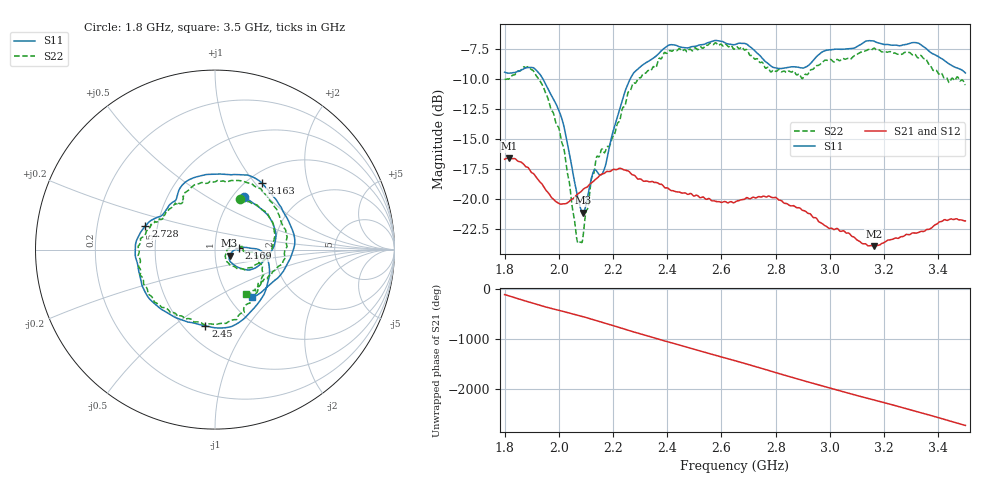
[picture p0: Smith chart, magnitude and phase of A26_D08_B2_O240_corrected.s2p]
! Created with skrf 1.9.0 (http://scikit-rf.org).
# Hz S RI R 50.0
!freq ReS11 ImS11 ReS21 ImS21 ReS12 ImS12 ReS22 ImS22
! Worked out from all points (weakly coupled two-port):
!   1601 points, 1.8 GHz to 3.5 GHz, reference 50 ohm
!   highest |S21| = -16.59 dB at 1.816 GHz (marker M1); lowest = -23.9 dB at 3.162 GHz (marker M2)
!   lowest |S11| = -21.1 dB at 2.089 GHz (marker M3), VSWR 1.19, Z = 58.7 - j3.99 ohm
!   |S11| at or under -10 dB: 1.942 GHz to 2.263 GHz (321.8 MHz wide, 15.3 % of centre)
!   |S22| runs from -23.7 to -7.0 dB; largest |S21 - S12| = 0.0029
!   S11 on the Smith chart (normalised r, x): 1.8 GHz: 1.13, +0.75; 2.169 GHz: 1.31, +0.03; 2.45 GHz: 0.63, -0.66; 2.728 GHz: 0.43, +0.14; 3.163 GHz: 1.16, +1.08; 3.5 GHz: 1.28, -0.75
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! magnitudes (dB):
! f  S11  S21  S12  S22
! 1.8 GHz  -9.4  -16.7  -16.7  -10.0
! 1.816 GHz  -9.5  -16.6  -16.6  -10.0
! 1.887 GHz  -9.0  -17.4  -17.5  -9.0
! 1.942 GHz  -10.0  -18.9  -18.9  -10.7
! 2.011 GHz  -13.3  -20.4  -20.4  -15.3
! 2.066 GHz  -19.4  -19.6  -19.7  -23.2
! 2.084 GHz  -21.0  -19.3  -19.3  -23.6
! 2.089 GHz  -21.1  -19.2  -19.2  -23.2
! 2.136 GHz  -17.6  -18.3  -18.3  -16.9
! 2.169 GHz  -17.4  -17.8  -17.9  -16.1
! 2.261 GHz  -10.1  -17.7  -17.8  -11.0
! 2.367 GHz  -7.9  -18.7  -18.6  -8.4
! 2.45 GHz  -7.4  -19.5  -19.5  -7.6
! 2.65 GHz  -7.1  -20.2  -20.2  -7.5
! 2.728 GHz  -7.8  -19.9  -19.9  -8.3
! 2.803 GHz  -9.1  -19.9  -19.9  -9.4
! 2.934 GHz  -8.6  -21.4  -21.4  -9.2
! 3.162 GHz  -6.8  -23.9  -23.9  -7.4
! 3.163 GHz  -6.9  -23.9  -23.9  -7.4
! 3.217 GHz  -7.1  -23.4  -23.4  -7.7
! 3.325 GHz  -7.0  -22.8  -22.8  -8.2
! 3.5 GHz  -9.5  -21.8  -21.8  -10.5
